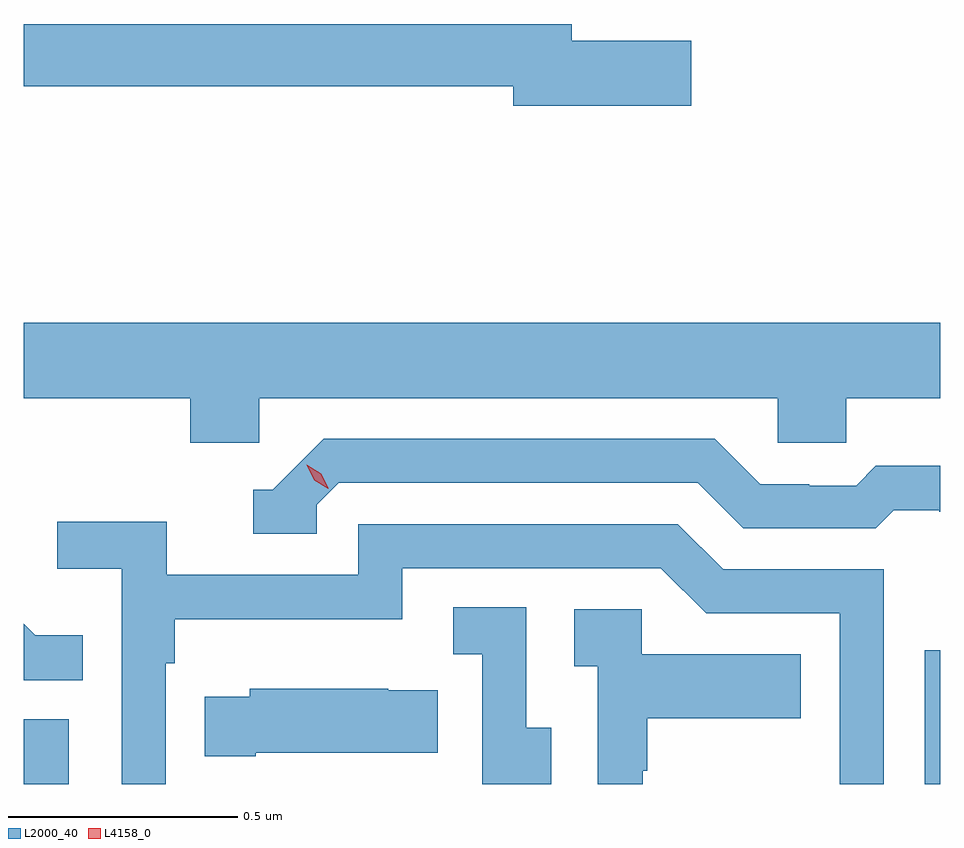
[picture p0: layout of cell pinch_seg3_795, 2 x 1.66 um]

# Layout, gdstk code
import gdstk
lib = gdstk.Library(unit=1e-6, precision=1e-09)
def R(c, l, rs):  # rectangles x0, y0, x1, y1
    for r in rs: c.add(gdstk.rectangle(r[:2], r[2:], *l))
def P(c, l, *ps):  # polygons
    for p in ps: c.add(gdstk.Polygon(p, *l))
L2000_40 = (2000, 40)
L4158_0 = (4158, 0)

pinch_seg3_795 = lib.new_cell('pinch_seg3_795')
R(pinch_seg3_795, L2000_40, [(818.954,713.394,819.052,713.535), (820.92,713.394,820.954,713.686)])
P(pinch_seg3_795, L2000_40, [(820.411,715.016),(820.15,715.016),(820.15,715.052),(818.954,715.052),(818.954,714.916),(820.022,714.916),(820.022,714.874),(820.411,714.874)],
  [(819.468,714.236),(820.599,714.236),(820.599,714.138),(820.749,714.138),(820.749,714.236),(820.954,714.236),(820.954,714.4),(818.954,714.4),(818.954,714.236),(819.317,714.236),(819.317,714.138),(819.468,714.138)],
  [(819.594,714.003),(819.642,714.051),(820.425,714.051),(820.524,713.952),(820.813,713.952),(820.852,713.991),(820.951,713.991),(820.951,713.988),(820.954,713.988),(820.954,714.088),(820.813,714.088),(820.771,714.045),(820.668,714.045),(820.668,714.048),(820.561,714.048),(820.462,714.147),(819.609,714.147),(819.498,714.036),(819.455,714.036),(819.455,713.94),(819.594,713.94)],
  [(819.264,713.657),(819.284,713.657),(819.284,713.753),(819.78,713.753),(819.78,713.865),(820.344,713.865),(820.443,713.766),(820.734,713.766),(820.734,713.394),(820.83,713.394),(820.83,713.862),(820.48,713.862),(820.381,713.961),(819.684,713.961),(819.684,713.85),(819.266,713.85),(819.266,713.966),(819.027,713.966),(819.027,713.864),(819.168,713.864),(819.168,713.394),(819.264,713.394)],
  [(820.105,713.517),(820.05,713.517),(820.05,713.78),(819.891,713.78),(819.891,713.677),(819.954,713.677),(819.954,713.394),(820.105,713.394)],
  [(820.305,713.423),(820.315,713.423),(820.315,713.537),(820.649,713.537),(820.649,713.677),(820.302,713.677),(820.302,713.775),(820.155,713.775),(820.155,713.651),(820.206,713.651),(820.206,713.394),(820.305,713.394)],
  [(819.083,713.719),(818.979,713.719),(818.954,713.744),(818.954,713.62),(819.083,713.62)],
  [(819.46,713.462),(819.857,713.462),(819.857,713.599),(819.749,713.599),(819.749,713.602),(819.447,713.602),(819.447,713.584),(819.349,713.584),(819.349,713.455),(819.46,713.455)])
P(pinch_seg3_795, L4158_0, [(819.619,714.038),(819.588,714.057),(819.572,714.09),(819.572,714.09),(819.572,714.09),(819.603,714.071),(819.619,714.039),(819.619,714.038)])

lib.write_gds('pinch_seg3_795.gds')
